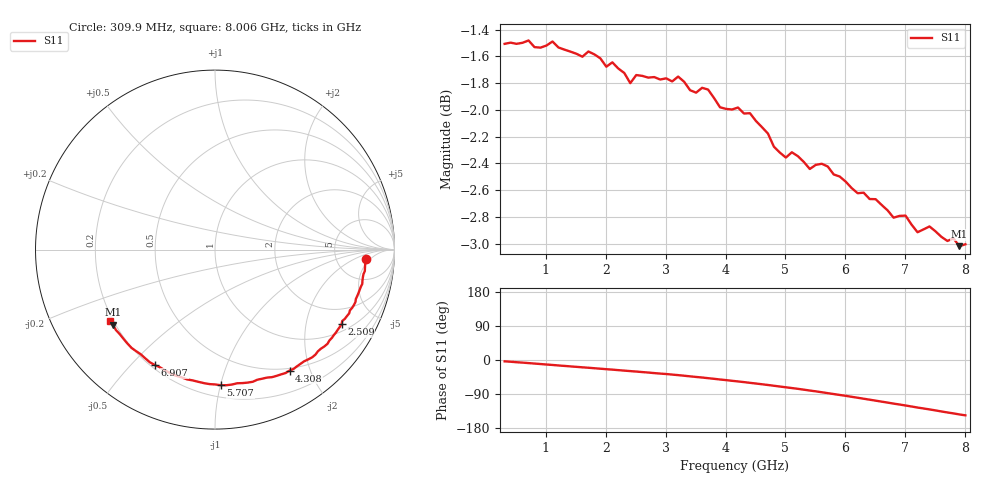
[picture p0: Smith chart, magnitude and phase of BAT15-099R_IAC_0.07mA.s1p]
! Infineon Technologies  Discrete & RF Semiconductors
! BAT15-099R
! IAC = 0.07 mA
! One-Port S-Parameters
# Hz  S  MA  R  50
!f  S11
!Hz  Mag  Ang
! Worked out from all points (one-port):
!   78 points, 309.9 MHz to 8.006 GHz, reference 50 ohm
!   lowest |S11| = -3.0 dB at 7.906 GHz (marker M1), VSWR 5.81, Z = 9.5 - j15.9 ohm
!   |S11| at or under -10 dB: nowhere
!   S11 on the Smith chart (normalised r, x): 309.9 MHz: 10, -4; 2.509 GHz: 1.27, -3.20; 4.308 GHz: 0.47, -1.69; 5.707 GHz: 0.28, -1.00; 6.907 GHz: 0.22, -0.59; 8.006 GHz: 0.19, -0.30
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3.0985e8  0.8408 -3.5
7.0965e8  0.8433 -8.2
9.0955e8  0.8381 -10.6
1.10945e9  0.8426 -13.1
1.30935e9  0.8367 -15.6
1.70915e9  0.8353 -20.4
2.009e9  0.8244 -24.2
2.10895e9  0.8276 -25.4
2.30885e9  0.82 -28.0
2.4088e9  0.8129 -29.3
2.50875e9  0.8185 -30.5
3.2084e9  0.8175 -39.9
3.70815e9  0.8084 -48.0
3.90805e9  0.7961 -51.4
4.2079e9  0.796 -56.6
4.30785e9  0.7919 -58.4
4.6077e9  0.7826 -64.0
5.0075e9  0.7624 -72.0
5.2074e9  0.7633 -76.0
5.70715e9  0.7565 -87.5
6.10695e9  0.7426 -97.1
6.50675e9  0.7355 -107.3
6.90655e9  0.725 -117.5
7.10645e9  0.7196 -122.7
7.4063e9  0.7185 -130.4
7.8061e9  0.7111 -140.9
7.90605e9  0.7064 -143.7
8.006e9  0.7075 -146.0
